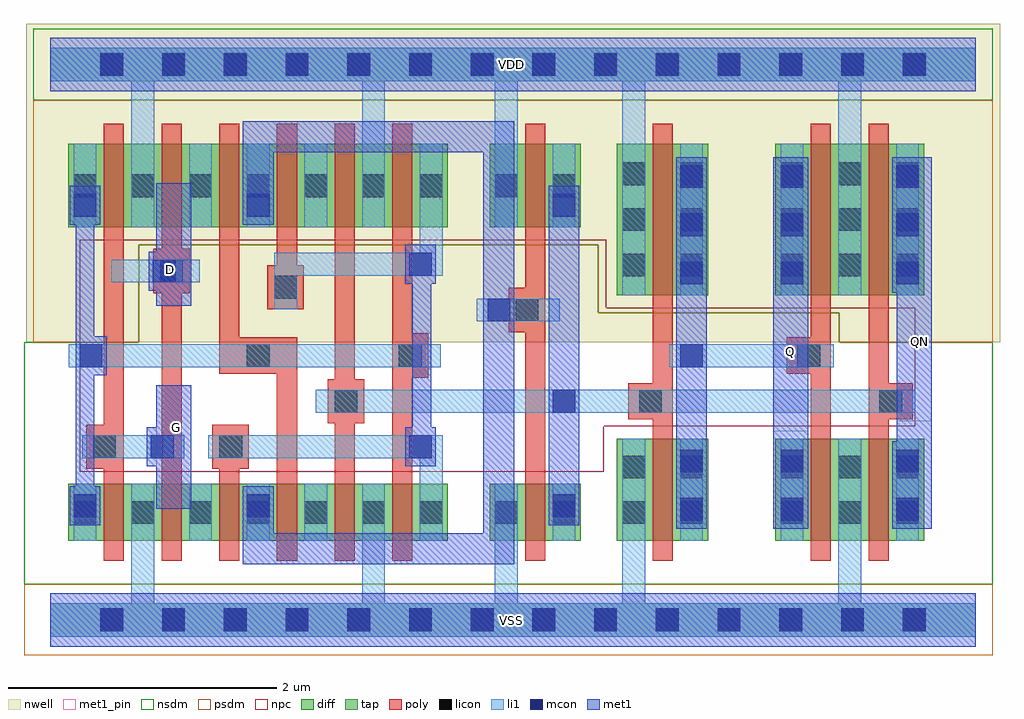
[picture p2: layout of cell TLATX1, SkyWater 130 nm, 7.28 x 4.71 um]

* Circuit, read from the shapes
.subckt TLATX1 D G Q QN VDD VSS
XM1 VSS G n1 VSS sky130_fd_pr__nfet_01v8 w=0.425 l=0.15
XM2 n2 D VSS VSS sky130_fd_pr__nfet_01v8 w=0.425 l=0.15
XM3 n3 n4 n2 VSS sky130_fd_pr__nfet_01v8 w=0.425 l=0.15
XM4 n5 n1 n3 VSS sky130_fd_pr__nfet_01v8 w=0.425 l=0.15
XM5 VSS n6 n5 VSS sky130_fd_pr__nfet_01v8 w=0.425 l=0.15
XM6 n4 n1 VSS VSS sky130_fd_pr__nfet_01v8 w=0.425 l=0.15
XM7 n6 n3 VSS VSS sky130_fd_pr__nfet_01v8 w=0.425 l=0.15
XM8 n7 n6 VSS VSS sky130_fd_pr__nfet_01v8 w=0.76 l=0.15
XM9 VSS n7 Q VSS sky130_fd_pr__nfet_01v8 w=0.76 l=0.15
XM10 QN n6 VSS VSS sky130_fd_pr__nfet_01v8 w=0.76 l=0.15
XM11 VDD G n1 VDD sky130_fd_pr__pfet_01v8 w=0.625 l=0.15
XM12 n8 D VDD VDD sky130_fd_pr__pfet_01v8 w=0.625 l=0.15
XM13 n3 n1 n8 VDD sky130_fd_pr__pfet_01v8 w=0.625 l=0.15
XM14 n9 n4 n3 VDD sky130_fd_pr__pfet_01v8 w=0.625 l=0.15
XM15 VDD n6 n9 VDD sky130_fd_pr__pfet_01v8 w=0.625 l=0.15
XM16 n4 n1 VDD VDD sky130_fd_pr__pfet_01v8 w=0.625 l=0.15
XM17 n6 n3 VDD VDD sky130_fd_pr__pfet_01v8 w=0.625 l=0.15
XM18 n7 n6 VDD VDD sky130_fd_pr__pfet_01v8 w=1.13 l=0.15
XM19 VDD n7 Q VDD sky130_fd_pr__pfet_01v8 w=1.13 l=0.15
XM20 QN n6 VDD VDD sky130_fd_pr__pfet_01v8 w=1.13 l=0.15
.ends

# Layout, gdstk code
from math import pi, radians
import gdstk
lib = gdstk.Library(unit=1e-6, precision=1e-09)
def R(c, l, rs):  # rectangles x0, y0, x1, y1
    for r in rs: c.add(gdstk.rectangle(r[:2], r[2:], *l))
def A(c, l, x, y, w, h, nx, ny, dx, dy):  # array of equal rectangles
    R(c, l, [(x+i*dx, y+j*dy, x+i*dx+w, y+j*dy+h) for i in range(nx) for j in range(ny)])
def P(c, l, *ps):  # polygons
    for p in ps: c.add(gdstk.Polygon(p, *l))
nwell = (64, 20)
diff = (65, 20)
tap = (65, 44)
poly = (66, 20)
licon = (66, 44)
li1 = (67, 20)
mcon = (67, 44)
met1_pin = (68, 16)
met1 = (68, 20)
nsdm = (93, 44)
psdm = (94, 20)
npc = (95, 20)

pyl1con_c_cdns_750710154 = lib.new_cell('PYL1CON_C_CDNS_750710154092')
R(pyl1con_c_cdns_750710154, poly, [(-0.135,-0.165,0.135,0.165)])
R(pyl1con_c_cdns_750710154, licon, [(-0.085,-0.085,0.085,0.085)])
R(pyl1con_c_cdns_750710154, npc, [(-0.185,-0.185,0.185,0.185)])

c_pyl1con_c_cdns_750710154 = lib.new_cell('PYL1CON_C_CDNS_750710154099')
R(c_pyl1con_c_cdns_750710154, poly, [(-0.135,-0.29,0.135,0.29)])
R(c_pyl1con_c_cdns_750710154, licon, [(-0.085,-0.085,0.085,0.085)])
R(c_pyl1con_c_cdns_750710154, npc, [(-0.185,-0.185,0.185,0.185)])

l1m1_c_cdns_750710154091 = lib.new_cell('L1M1_C_CDNS_750710154091')
R(l1m1_c_cdns_750710154091, li1, [(-0.085,-0.165,0.085,0.165)])
R(l1m1_c_cdns_750710154091, mcon, [(-0.085,-0.085,0.085,0.085)])
R(l1m1_c_cdns_750710154091, met1, [(-0.115,-0.145,0.115,0.145)])

l1m1_c_cdns_750710154090 = lib.new_cell('L1M1_C_CDNS_750710154090')
R(l1m1_c_cdns_750710154090, li1, [(-0.165,-0.085,0.165,0.085)])
R(l1m1_c_cdns_750710154090, mcon, [(-0.085,-0.085,0.085,0.085)])
R(l1m1_c_cdns_750710154090, met1, [(-0.115,-0.145,0.115,0.145)])

l1m1_c_cdns_750710154098 = lib.new_cell('L1M1_C_CDNS_750710154098')
R(l1m1_c_cdns_750710154098, li1, [(-0.085,-0.525,0.085,0.525)])
A(l1m1_c_cdns_750710154098, mcon, -0.085, -0.445, 0.17, 0.17, 1, 3, 0, 0.36)
R(l1m1_c_cdns_750710154098, met1, [(-0.115,-0.505,0.115,0.505)])

l1m1_c_cdns_750710154094 = lib.new_cell('L1M1_C_CDNS_750710154094')
R(l1m1_c_cdns_750710154094, li1, [(-0.085,-0.345,0.085,0.345)])
R(l1m1_c_cdns_750710154094, mcon, [(-0.085,-0.265,0.085,-0.095), (-0.085,0.095,0.085,0.265)])
R(l1m1_c_cdns_750710154094, met1, [(-0.115,-0.325,0.115,0.325)])

tlatx1 = lib.new_cell('TLATX1')
R(tlatx1, nwell, [(-0.18,2.07,7.08,4.445), (4.045,2.24,5.085,3.73), (5.225,2.24,6.225,3.73), (5.865,2.24,6.695,3.73), (-0.045,2.745,0.995,3.73), (0.385,2.745,1.425,3.73), (0.815,2.745,1.815,3.73), (1.455,2.745,2.285,3.73), (1.675,2.745,2.715,3.73), (2.105,2.745,3.145,3.73), (3.095,2.745,4.135,3.73), (-0.18,3.875,7.08,4.445)])
A(tlatx1, diff, 0.4, 0.59, 0.15, 0.425, 6, 1, 0.43, 0)
A(tlatx1, diff, 0.4, 2.925, 0.15, 0.625, 6, 1, 0.43, 0)
R(tlatx1, diff, [(0.135,0.59,0.4,1.015), (0.55,0.59,0.605,1.015), (0.605,0.59,0.83,1.015), (0.98,0.59,1.245,1.015), (0.995,0.59,1.26,1.015), (1.41,0.59,1.635,1.015), (1.635,0.59,1.69,1.015), (1.84,0.59,2.105,1.015), (1.855,0.59,2.12,1.015), (2.27,0.59,2.495,1.015), (2.495,0.59,2.55,1.015), (2.7,0.59,2.965,1.015), (3.275,0.59,3.54,1.015), (3.54,0.59,3.69,1.015), (3.69,0.59,3.955,1.015), (4.225,0.59,4.49,1.35), (4.49,0.59,4.64,1.35), (4.64,0.59,4.905,1.35), (5.405,0.59,5.67,1.35), (5.67,0.59,5.82,1.35), (5.82,0.59,6.045,1.35), (6.045,0.59,6.1,1.35), (6.1,0.59,6.25,1.35), (6.25,0.59,6.515,1.35), (4.225,2.42,4.49,3.55), (4.49,2.42,4.64,3.55), (4.64,2.42,4.905,3.55), (5.405,2.42,5.67,3.55), (5.67,2.42,5.82,3.55), (5.82,2.42,6.045,3.55), (6.045,2.42,6.1,3.55), (6.1,2.42,6.25,3.55), (6.25,2.42,6.515,3.55), (0.135,2.925,0.4,3.55), (0.55,2.925,0.815,3.55), (0.565,2.925,0.83,3.55), (0.98,2.925,1.245,3.55), (0.995,2.925,1.26,3.55), (1.41,2.925,1.635,3.55), (1.635,2.925,1.69,3.55), (1.84,2.925,2.105,3.55), (1.855,2.925,2.12,3.55), (2.27,2.925,2.535,3.55), (2.285,2.925,2.55,3.55), (2.7,2.925,2.965,3.55), (3.275,2.925,3.54,3.55), (3.54,2.925,3.69,3.55), (3.69,2.925,3.955,3.55)])
A(tlatx1, poly, 0.4, 0.44, 0.15, 0.055, 6, 2, 0.43, 0.67)
A(tlatx1, poly, 0.4, 0.495, 0.15, 0.095, 6, 2, 0.43, 0.52)
A(tlatx1, poly, 0.4, 0.59, 0.15, 0.425, 6, 1, 0.43, 0)
A(tlatx1, poly, 1.26, 2.775, 0.15, 0.055, 4, 1, 0.43, 0)
A(tlatx1, poly, 0.4, 2.83, 0.15, 0.095, 6, 2, 0.43, 0.72)
A(tlatx1, poly, 0.4, 2.925, 0.15, 0.625, 6, 1, 0.43, 0)
A(tlatx1, poly, 0.4, 3.645, 0.15, 0.055, 6, 1, 0.43, 0)
R(tlatx1, poly, [(3.54,0.44,3.69,0.495), (4.49,0.44,4.64,0.495), (5.67,0.44,5.82,0.495), (6.1,0.44,6.25,0.495), (3.54,0.495,3.69,0.59), (4.49,0.495,4.64,0.59), (5.67,0.495,5.82,0.59), (6.1,0.495,6.25,0.59), (3.54,0.59,3.69,1.015), (4.49,0.59,4.64,1.35), (5.67,0.59,5.82,1.35), (6.1,0.59,6.25,1.35), (3.54,1.015,3.69,1.11), (3.54,1.11,3.69,1.165), (4.49,1.35,4.64,1.445), (5.67,1.35,5.82,1.445), (6.1,1.35,6.25,1.445), (4.49,1.445,4.64,1.5), (5.67,1.445,5.82,1.5), (6.1,1.445,6.25,1.5), (4.49,2.27,4.64,2.325), (5.67,2.27,5.82,2.325), (6.1,2.27,6.25,2.325), (4.49,2.325,4.64,2.42), (5.67,2.325,5.82,2.42), (6.1,2.325,6.25,2.42), (4.49,2.42,4.64,3.55), (5.67,2.42,5.82,3.55), (6.1,2.42,6.25,3.55), (0.83,2.725,0.98,2.78), (0.4,2.775,0.55,2.83), (3.54,2.775,3.69,2.83), (3.54,2.83,3.69,2.925), (3.54,2.925,3.69,3.55), (3.54,3.55,3.69,3.645), (4.49,3.55,4.64,3.645), (5.67,3.55,5.82,3.645), (6.1,3.55,6.25,3.645), (3.54,3.645,3.69,3.7), (4.49,3.645,4.64,3.7), (5.67,3.645,5.82,3.7), (6.1,3.645,6.25,3.7)])
A(tlatx1, licon, 0.375, -0.085, 0.17, 0.17, 14, 2, 0.46, 4.14)
A(tlatx1, licon, 0.175, 0.715, 0.17, 0.17, 3, 1, 0.43, 0)
A(tlatx1, licon, 1.035, 0.715, 0.17, 0.17, 3, 2, 0.43, 2.435)
A(tlatx1, licon, 1.895, 0.715, 0.17, 0.17, 3, 1, 0.43, 0)
A(tlatx1, licon, 5.445, 0.715, 0.17, 0.17, 3, 2, 0.43, 0.34)
A(tlatx1, licon, 4.265, 2.56, 0.17, 0.17, 1, 3, 0, 0.34)
A(tlatx1, licon, 4.695, 2.56, 0.17, 0.17, 1, 3, 0, 0.34)
A(tlatx1, licon, 5.445, 2.56, 0.17, 0.17, 3, 3, 0.43, 0.34)
R(tlatx1, licon, [(3.315,0.715,3.485,0.885), (3.745,0.715,3.915,0.885), (4.265,0.715,4.435,0.885), (4.695,0.715,4.865,0.885), (4.265,1.055,4.435,1.225), (4.695,1.055,4.865,1.225), (0.175,3.15,0.345,3.32), (0.605,3.15,0.775,3.32), (0.605,3.15,0.775,3.32), (1.035,3.15,1.205,3.32), (1.895,3.15,2.065,3.32), (2.325,3.15,2.495,3.32), (2.325,3.15,2.495,3.32), (2.755,3.15,2.925,3.32), (3.315,3.15,3.485,3.32), (3.745,3.15,3.915,3.32)])
A(tlatx1, li1, 0.175, 0.59, 0.17, 0.425, 3, 1, 0.43, 0)
A(tlatx1, li1, 1.035, 0.59, 0.17, 0.425, 3, 1, 0.43, 0)
A(tlatx1, li1, 1.895, 0.59, 0.17, 0.425, 3, 1, 0.43, 0)
A(tlatx1, li1, 5.445, 0.59, 0.17, 0.76, 3, 1, 0.43, 0)
A(tlatx1, li1, 5.445, 2.42, 0.17, 1.13, 3, 1, 0.43, 0)
A(tlatx1, li1, 1.035, 2.925, 0.17, 0.625, 3, 1, 0.43, 0)
R(tlatx1, li1, [(3.315,0.59,3.485,1.015), (3.745,0.59,3.915,1.015), (4.265,0.59,4.435,1.35), (4.695,0.59,4.865,1.35), (1.67,2.315,1.84,2.735), (4.265,2.42,4.435,3.55), (4.695,2.42,4.865,3.55), (0.175,2.925,0.345,3.55), (0.605,2.925,0.775,3.55), (0.605,2.925,0.775,3.55), (1.035,2.925,1.205,3.55), (1.895,2.925,2.065,3.55), (2.325,2.925,2.495,3.55), (2.325,2.925,2.495,3.55), (2.755,2.925,2.925,3.55), (3.315,2.925,3.485,3.55), (3.745,2.925,3.915,3.55)])
A(tlatx1, mcon, 0.375, -0.085, 0.17, 0.17, 14, 2, 0.46, 4.14)
R(tlatx1, met1_pin, [(0.79,0.83,1.05,1.75), (5.39,1.405,5.65,3.445), (6.31,1.48,6.57,3.45), (0.79,2.34,1.05,3.255)])
R(tlatx1, nsdm, [(-0.005,0.46,0.615,1.145), (0.595,0.46,1.385,1.145), (0.855,0.46,1.645,1.145), (1.625,0.46,2.245,1.145), (1.715,0.46,2.505,1.145), (2.485,0.46,3.105,1.145), (3.135,0.46,4.095,1.145), (4.085,0.46,5.045,1.48), (5.265,0.46,6.055,1.48), (6.035,0.46,6.655,1.48), (-0.125,3.875,7.025,4.405), (-0.125,3.93,7.025,4.35)])
P(tlatx1, nsdm, [(7.025,2.07),(5.88,2.07),(5.88,2.29),(4.085,2.29),(4.085,2.795),(0.66,2.795),(0.66,2.07),(-0.195,2.07),(-0.195,0.265),(7.025,0.265)])
R(tlatx1, psdm, [(-0.195,-0.265,7.025,0.265), (-0.195,-0.21,7.025,0.21), (4.085,2.29,5.045,3.68), (5.265,2.29,6.055,3.68), (6.035,2.29,6.655,3.68), (-0.005,2.795,0.955,3.68), (0.425,2.795,1.385,3.68), (0.855,2.795,1.645,3.68), (1.625,2.795,2.245,3.68), (1.715,2.795,2.675,3.68), (2.145,2.795,3.105,3.68), (3.135,2.795,4.095,3.68)])
P(tlatx1, psdm, [(7.025,3.875),(-0.125,3.875),(-0.125,2.07),(0.66,2.07),(0.66,2.795),(4.085,2.795),(4.085,2.29),(5.88,2.29),(5.88,2.07),(7.025,2.07)])
P(tlatx1, npc, [(6.45,2.325),(4.145,2.325),(4.145,2.835),(0.22,2.835),(0.22,1.105),(4.125,1.105),(4.125,1.445),(6.45,1.445)])
tlatx1.add(gdstk.FlexPath([(1.335,1.97),(1.335,2.83)], 0.15, ends=(0.075, 0), simple_path=True, layer=66, datatype=20))  # poly
tlatx1.add(gdstk.FlexPath([(1.335,1.97),(1.765,1.97)], 0.15, ends="extended", simple_path=True, layer=66, datatype=20))  # poly
tlatx1.add(gdstk.FlexPath([(1.765,1.97),(1.765,1.11)], 0.15, ends=(0.075, 0), simple_path=True, layer=66, datatype=20))  # poly
tlatx1.add(gdstk.FlexPath([(2.625,1.165),(2.625,2.775)], 0.15, ends="flush", simple_path=True, layer=66, datatype=20))  # poly
tlatx1.add(gdstk.FlexPath([(0.905,1.11),(0.905,2.83)], 0.15, ends="flush", simple_path=True, layer=66, datatype=20))  # poly
tlatx1.add(gdstk.FlexPath([(3.615,1.11),(3.615,2.83)], 0.15, ends="flush", simple_path=True, layer=66, datatype=20))  # poly
tlatx1.add(gdstk.FlexPath([(0.475,2.83),(0.475,1.11)], 0.15, ends="flush", simple_path=True, layer=66, datatype=20))  # poly
tlatx1.add(gdstk.FlexPath([(1.765,2.775),(1.765,2.51)], 0.15, ends="flush", simple_path=True, layer=66, datatype=20))  # poly
tlatx1.add(gdstk.FlexPath([(2.195,2.83),(2.195,1.11)], 0.15, ends="flush", simple_path=True, layer=66, datatype=20))  # poly
tlatx1.add(gdstk.FlexPath([(6.175,1.445),(6.175,2.325)], 0.15, ends="flush", simple_path=True, layer=66, datatype=20))  # poly
tlatx1.add(gdstk.FlexPath([(5.745,1.445),(5.745,2.325)], 0.15, ends="flush", simple_path=True, layer=66, datatype=20))  # poly
tlatx1.add(gdstk.FlexPath([(4.565,2.27),(4.565,1.5)], 0.15, ends="flush", simple_path=True, layer=66, datatype=20))  # poly
tlatx1.add(gdstk.FlexPath([(1.67,2.65),(2.79,2.65)], 0.17, ends="flush", simple_path=True, layer=67, datatype=20))  # li1
tlatx1.add(gdstk.FlexPath([(3.4,2.925),(3.4,4.14)], 0.17, ends=(0, 0.125), simple_path=True, layer=67, datatype=20))  # li1
tlatx1.add(gdstk.FlexPath([(0,4.14),(6.9,4.14)], 0.25, ends="flush", simple_path=True, layer=67, datatype=20))  # li1
tlatx1.add(gdstk.FlexPath([(2.84,2.925),(2.84,2.65)], 0.17, ends="flush", simple_path=True, layer=67, datatype=20))  # li1
tlatx1.add(gdstk.FlexPath([(3.4,1.015),(3.4,0)], 0.17, ends=(0, 0.125), simple_path=True, layer=67, datatype=20))  # li1
tlatx1.add(gdstk.FlexPath([(2.41,1.015),(2.41,0)], 0.17, ends=(0, 0.125), simple_path=True, layer=67, datatype=20))  # li1
tlatx1.add(gdstk.FlexPath([(3.995,1.63),(1.98,1.63)], 0.17, ends="flush", simple_path=True, layer=67, datatype=20))  # li1
tlatx1.add(gdstk.FlexPath([(1.18,1.29),(2.825,1.29)], 0.17, ends="flush", simple_path=True, layer=67, datatype=20))  # li1
tlatx1.add(gdstk.FlexPath([(3.83,1.63),(4.73,1.63)], 0.17, ends="flush", simple_path=True, layer=67, datatype=20))  # li1
tlatx1.add(gdstk.FlexPath([(0,0),(6.9,0)], 0.25, ends="flush", simple_path=True, layer=67, datatype=20))  # li1
tlatx1.add(gdstk.FlexPath([(0.19,1.97),(2.635,1.97)], 0.17, ends=(0, 0.085), simple_path=True, layer=67, datatype=20))  # li1
tlatx1.add(gdstk.FlexPath([(2.41,2.925),(2.41,4.14)], 0.17, ends=(0, 0.125), simple_path=True, layer=67, datatype=20))  # li1
tlatx1.add(gdstk.FlexPath([(0.455,2.6),(1.115,2.6)], 0.17, ends="flush", simple_path=True, layer=67, datatype=20))  # li1
tlatx1.add(gdstk.FlexPath([(0.24,1.29),(0.785,1.29)], 0.17, ends="flush", simple_path=True, layer=67, datatype=20))  # li1
tlatx1.add(gdstk.FlexPath([(0.69,1.015),(0.69,0)], 0.17, ends=(0, 0.125), simple_path=True, layer=67, datatype=20))  # li1
tlatx1.add(gdstk.FlexPath([(0.69,2.925),(0.69,4.14)], 0.17, ends=(0, 0.125), simple_path=True, layer=67, datatype=20))  # li1
tlatx1.add(gdstk.FlexPath([(4.79,1.97),(5.84,1.97)], 0.17, ends="flush", simple_path=True, layer=67, datatype=20))  # li1
tlatx1.add(gdstk.FlexPath([(2.84,1.015),(2.84,1.29)], 0.17, ends="flush", simple_path=True, layer=67, datatype=20))  # li1
tlatx1.add(gdstk.FlexPath([(4.615,1.63),(6.45,1.63)], 0.17, ends="flush", simple_path=True, layer=67, datatype=20))  # li1
tlatx1.add(gdstk.FlexPath([(4.35,2.925),(4.35,4.14)], 0.17, ends=(0, 0.125), simple_path=True, layer=67, datatype=20))  # li1
tlatx1.add(gdstk.FlexPath([(5.96,2.925),(5.96,4.14)], 0.17, ends=(0, 0.125), simple_path=True, layer=67, datatype=20))  # li1
tlatx1.add(gdstk.FlexPath([(4.35,1.015),(4.35,0)], 0.17, ends=(0, 0.125), simple_path=True, layer=67, datatype=20))  # li1
tlatx1.add(gdstk.FlexPath([(5.96,1.015),(5.96,0)], 0.17, ends=(0, 0.125), simple_path=True, layer=67, datatype=20))  # li1
tlatx1.add(gdstk.FlexPath([(2.635,1.97),(2.91,1.97)], 0.17, ends=(0.085, 0), simple_path=True, layer=67, datatype=20))  # li1
tlatx1.add(gdstk.FlexPath([(3.345,2.31),(3.8,2.31)], 0.17, ends="flush", simple_path=True, layer=67, datatype=20))  # li1
tlatx1.add(gdstk.FlexPath([(2.635,1.97),(2.635,1.975)], 0.17, ends=(0.085, 0), simple_path=True, layer=67, datatype=20))  # li1
tlatx1.add(gdstk.FlexPath([(0,4.14),(6.9,4.14)], 0.25, ends="flush", simple_path=True, layer=65, datatype=44))  # tap
tlatx1.add(gdstk.FlexPath([(0,0),(6.9,0)], 0.25, ends="flush", simple_path=True, layer=65, datatype=44))  # tap
tlatx1.add(gdstk.FlexPath([(3.345,3.6),(3.345,0.53)], 0.23, ends="extended", simple_path=True, layer=68, datatype=20))  # met1
tlatx1.add(gdstk.FlexPath([(3.345,0.53),(1.55,0.53)], 0.23, ends="extended", simple_path=True, layer=68, datatype=20))  # met1
tlatx1.add(gdstk.FlexPath([(1.55,0.53),(1.55,0.85)], 0.23, ends=(0.115, 0), simple_path=True, layer=68, datatype=20))  # met1
tlatx1.add(gdstk.FlexPath([(2.77,2.72),(2.77,1.225)], 0.14, ends="flush", simple_path=True, layer=68, datatype=20))  # met1
tlatx1.add(gdstk.FlexPath([(0,4.14),(6.9,4.14)], 0.4, ends="flush", simple_path=True, layer=68, datatype=20))  # met1
tlatx1.add(gdstk.FlexPath([(3.83,0.705),(3.83,3.235)], 0.23, ends="flush", simple_path=True, layer=68, datatype=20))  # met1
tlatx1.add(gdstk.FlexPath([(0.92,2.34),(0.92,3.255)], 0.26, ends="flush", simple_path=True, layer=68, datatype=20))  # met1
tlatx1.add(gdstk.FlexPath([(0.26,0.705),(0.26,3.235)], 0.14, ends="flush", simple_path=True, layer=68, datatype=20))  # met1
tlatx1.add(gdstk.FlexPath([(1.55,3.09),(1.55,3.6)], 0.23, ends=(0, 0.115), simple_path=True, layer=68, datatype=20))  # met1
tlatx1.add(gdstk.FlexPath([(0.92,0.83),(0.92,1.75)], 0.26, ends="flush", simple_path=True, layer=68, datatype=20))  # met1
tlatx1.add(gdstk.FlexPath([(5.52,0.68),(5.52,3.45)], 0.26, ends="flush", simple_path=True, layer=68, datatype=20))  # met1
tlatx1.add(gdstk.FlexPath([(6.44,0.68),(6.44,3.45)], 0.26, ends="flush", simple_path=True, layer=68, datatype=20))  # met1
tlatx1.add(gdstk.FlexPath([(4.78,0.68),(4.78,3.45)], 0.23, ends="flush", simple_path=True, layer=68, datatype=20))  # met1
tlatx1.add(gdstk.FlexPath([(0,0),(6.9,0)], 0.4, ends="flush", simple_path=True, layer=68, datatype=20))  # met1
tlatx1.add(gdstk.FlexPath([(1.55,3.6),(3.345,3.6)], 0.23, ends="extended", simple_path=True, layer=68, datatype=20))  # met1
tlatx1.add(gdstk.FlexPath([(0,4.14),(6.9,4.14)], 0.4, ends="flush", simple_path=True, layer=68, datatype=16))  # met1_pin
tlatx1.add(gdstk.FlexPath([(0,0),(6.9,0)], 0.4, ends="flush", simple_path=True, layer=68, datatype=16))  # met1_pin
tlatx1.add(gdstk.Reference(pyl1con_c_cdns_750710154, (4.475,1.63), rotation=pi/2, x_reflection=True))
tlatx1.add(gdstk.Reference(pyl1con_c_cdns_750710154, (2.685,1.97)))
tlatx1.add(gdstk.Reference(pyl1con_c_cdns_750710154, (1.345,1.29), x_reflection=True))
tlatx1.add(gdstk.Reference(pyl1con_c_cdns_750710154, (6.265,1.63), rotation=pi/2, x_reflection=True))
tlatx1.add(gdstk.Reference(pyl1con_c_cdns_750710154, (5.655,1.97), rotation=pi/2, x_reflection=True))
tlatx1.add(gdstk.Reference(pyl1con_c_cdns_750710154, (1.755,2.48), rotation=pi))
tlatx1.add(gdstk.Reference(pyl1con_c_cdns_750710154, (0.905,2.6), x_reflection=True))
tlatx1.add(gdstk.Reference(pyl1con_c_cdns_750710154, (0.405,1.29), rotation=pi))
tlatx1.add(gdstk.Reference(pyl1con_c_cdns_750710154, (3.555,2.31), x_reflection=True))
tlatx1.add(gdstk.Reference(pyl1con_c_cdns_750710154, (2.205,1.63), rotation=pi))
tlatx1.add(gdstk.Reference(c_pyl1con_c_cdns_750710154, (1.55,1.97), rotation=pi/2, x_reflection=True))
tlatx1.add(gdstk.Reference(l1m1_c_cdns_750710154091, (1.55,3.09), rotation=pi, x_reflection=True))
tlatx1.add(gdstk.Reference(l1m1_c_cdns_750710154091, (1.55,0.85), rotation=pi, x_reflection=True))
tlatx1.add(gdstk.Reference(l1m1_c_cdns_750710154091, (3.83,0.85), rotation=pi, x_reflection=True))
tlatx1.add(gdstk.Reference(l1m1_c_cdns_750710154091, (3.83,3.09), rotation=pi, x_reflection=True))
tlatx1.add(gdstk.Reference(l1m1_c_cdns_750710154091, (0.26,0.85), rotation=pi, x_reflection=True))
tlatx1.add(gdstk.Reference(l1m1_c_cdns_750710154091, (0.26,3.09), rotation=pi, x_reflection=True))
tlatx1.add(gdstk.Reference(l1m1_c_cdns_750710154090, (2.76,2.65)))
tlatx1.add(gdstk.Reference(l1m1_c_cdns_750710154090, (3.83,1.63)))
tlatx1.add(gdstk.Reference(l1m1_c_cdns_750710154090, (0.85,2.6), x_reflection=True))
tlatx1.add(gdstk.Reference(l1m1_c_cdns_750710154090, (2.76,1.29)))
tlatx1.add(gdstk.Reference(l1m1_c_cdns_750710154090, (0.835,1.29), x_reflection=True))
tlatx1.add(gdstk.Reference(l1m1_c_cdns_750710154090, (0.305,1.97), rotation=pi, x_reflection=True))
tlatx1.add(gdstk.Reference(l1m1_c_cdns_750710154090, (3.345,2.31)))
tlatx1.add(gdstk.Reference(l1m1_c_cdns_750710154090, (4.78,1.97), x_reflection=True))
tlatx1.add(gdstk.Reference(l1m1_c_cdns_750710154098, (5.53,2.945)))
tlatx1.add(gdstk.Reference(l1m1_c_cdns_750710154098, (6.39,2.945)))
tlatx1.add(gdstk.Reference(l1m1_c_cdns_750710154098, (4.78,2.945)))
tlatx1.add(gdstk.Reference(l1m1_c_cdns_750710154094, (5.53,1.005)))
tlatx1.add(gdstk.Reference(l1m1_c_cdns_750710154094, (6.39,1.005)))
tlatx1.add(gdstk.Reference(l1m1_c_cdns_750710154094, (4.78,1.005)))
tlatx1.add(gdstk.Label('VDD', (3.44,4.14), layer=68, texttype=16))
tlatx1.add(gdstk.Label('VSS', (3.44,-0.005), layer=68, texttype=16))
tlatx1.add(gdstk.Label('G', (0.942,1.434), layer=68, texttype=16))
tlatx1.add(gdstk.Label('Q', (5.522,1.999), layer=68, texttype=16))
tlatx1.add(gdstk.Label('QN', (6.482,2.074), layer=68, texttype=16))
tlatx1.add(gdstk.Label('D', (0.895,2.61), layer=68, texttype=16))

lib.write_gds('TLATX1.gds')
